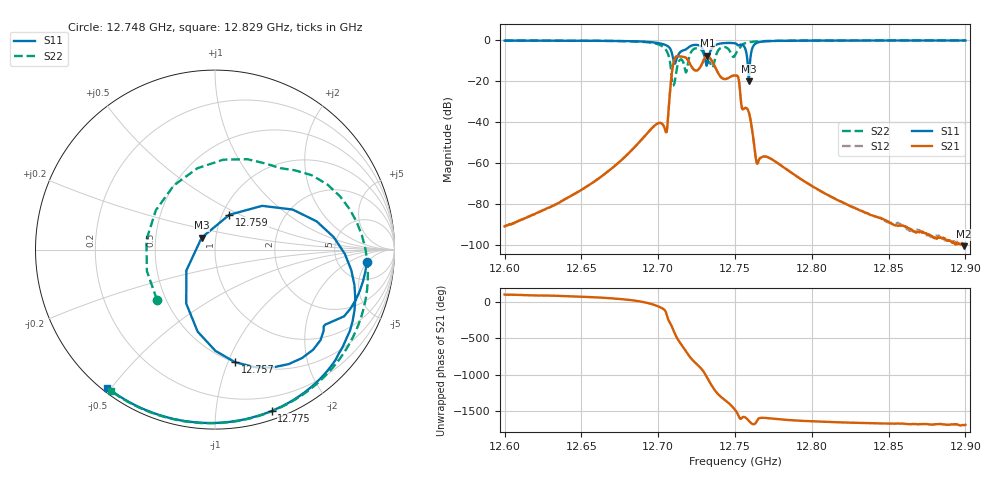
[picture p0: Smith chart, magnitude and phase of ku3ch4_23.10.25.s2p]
#  HZ  S  RI  R  50.00
! Rohde & Schwarz ZVA50 2Ports - Version 3.70 - 1145.1110k50 SN: 100192
! Date: 2025-10-23 16:02:25
! Measurements: S11 S21 S12 S22
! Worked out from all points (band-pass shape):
!   601 points, 12.6 GHz to 12.9 GHz, reference 50 ohm
!   highest |S21| = -7.61 dB at 12.732 GHz (marker M1); lowest = -100.5 dB at 12.899 GHz (marker M2)
!   |S21| within 3 dB of the highest: 12.7101 GHz to 12.71999 GHz (9.888 MHz wide, 0.0778 % of centre); 12.72911 GHz to 12.73537 GHz (6.262 MHz wide, 0.0492 % of centre)
!   lowest |S11| = -20.0 dB at 12.759 GHz (marker M3), VSWR 1.22, Z = 42.7 + j5.77 ohm
!   |S11| at or under -10 dB: 12.70997 GHz to 12.71168 GHz (1.713 MHz wide, 0.0135 % of centre); 12.73081 GHz to 12.73236 GHz (1.554 MHz wide, 0.0122 % of centre); 12.75807 GHz to 12.75988 GHz (1.816 MHz wide, 0.0142 % of centre)
!   |S22| runs from -22.1 to -0.2 dB; largest |S21 - S12| = 0.0038
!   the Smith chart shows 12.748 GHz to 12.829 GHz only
!   S11 on the Smith chart (normalised r, x): 12.748 GHz: 10, -5; 12.757 GHz: 0.50, -1.06; 12.759 GHz: 1.08, +0.44; 12.775 GHz: 0.07, -1.41; 12.829 GHz: 0.02, -0.49
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1.26e10  -0.9526 -0.1928  -5.89e-06 2.82e-05  -5.68e-06 2.84e-05  -0.948 -0.2246
1.265e10  -0.9345 0.2367  7.15e-05 0.000212  6.65e-05 0.000213  -0.9362 0.2317
1.2689e10  -0.2462 0.8893  0.00368 0.00027  0.00369 0.000281  -0.0948 0.9048
1.27e10  0.5718 0.625  0.00464 -0.00818  0.00467 -0.00817  0.7441 0.2586
1.2705e10  0.7461 -0.0967  -0.00434 -0.00372  -0.00433 -0.00373  0.2095 -0.5414
1.27115e10  0.1029 -0.2823  -0.0878 -0.3799  -0.0875 -0.38  0.1085 -0.0961
1.27235e10  -0.715 0.2653  -0.0315 -0.1844  -0.0314 -0.1845  -0.6086 0.0812
1.2732e10  -0.1358 0.227  0.3365 0.245  0.3364 0.2452  0.2589 0.1086
1.2737e10  0.0255 0.7407  -0.1526 -0.1635  -0.1526 -0.1637  -0.2706 0.2215
1.2743e10  0.7053 0.4657  -0.0257 0.1095  -0.0258 0.1095  0.6698 -0.11
1.2748e10  0.8461 -0.0689  0.1305 0.0265  0.1305 0.0266  -0.3235 -0.2797
1.275e10  0.7851 -0.2786  0.1093 -0.0824  0.1094 -0.0822  -0.2298 0.3572
1.27565e10  0.1125 -0.6277  -0.0169 -0.0143  -0.0168 -0.0143  0.8363 0.0124
1.2759e10  -0.0742 0.0668  -0.0172 0.0026  -0.0172 0.00259  0.8392 -0.2778
1.27595e10  0.0799 0.1939  -0.0138 0.00514  -0.0138 0.00513  0.8288 -0.3254
1.27645e10  0.7666 -0.3989  -0.000972 1.69e-05  -0.000973 1.53e-05  0.6535 -0.6607
1.27755e10  0.3159 -0.8991  -0.00108 -0.000375  -0.00108 -0.000379  0.2435 -0.927
1.28e10  -0.2846 -0.9295  -0.000268 7.22e-05  -0.000269 7.42e-05  -0.2873 -0.9307
1.28295e10  -0.5995 -0.77  -6.24e-05 4.41e-05  -6.05e-05 4.51e-05  -0.5793 -0.7878
1.285e10  -0.7179 -0.662  -2.65e-05 2.67e-05  -2.58e-05 2.48e-05  -0.6938 -0.6902
1.2899e10  -0.8697 -0.4428  -3.61e-06 8.76e-06  -6.72e-06 8.01e-06  -0.8487 -0.4887
1.29e10  -0.8717 -0.4388  -4.85e-06 9.22e-06  -6.44e-06 8.23e-06  -0.8508 -0.4849
